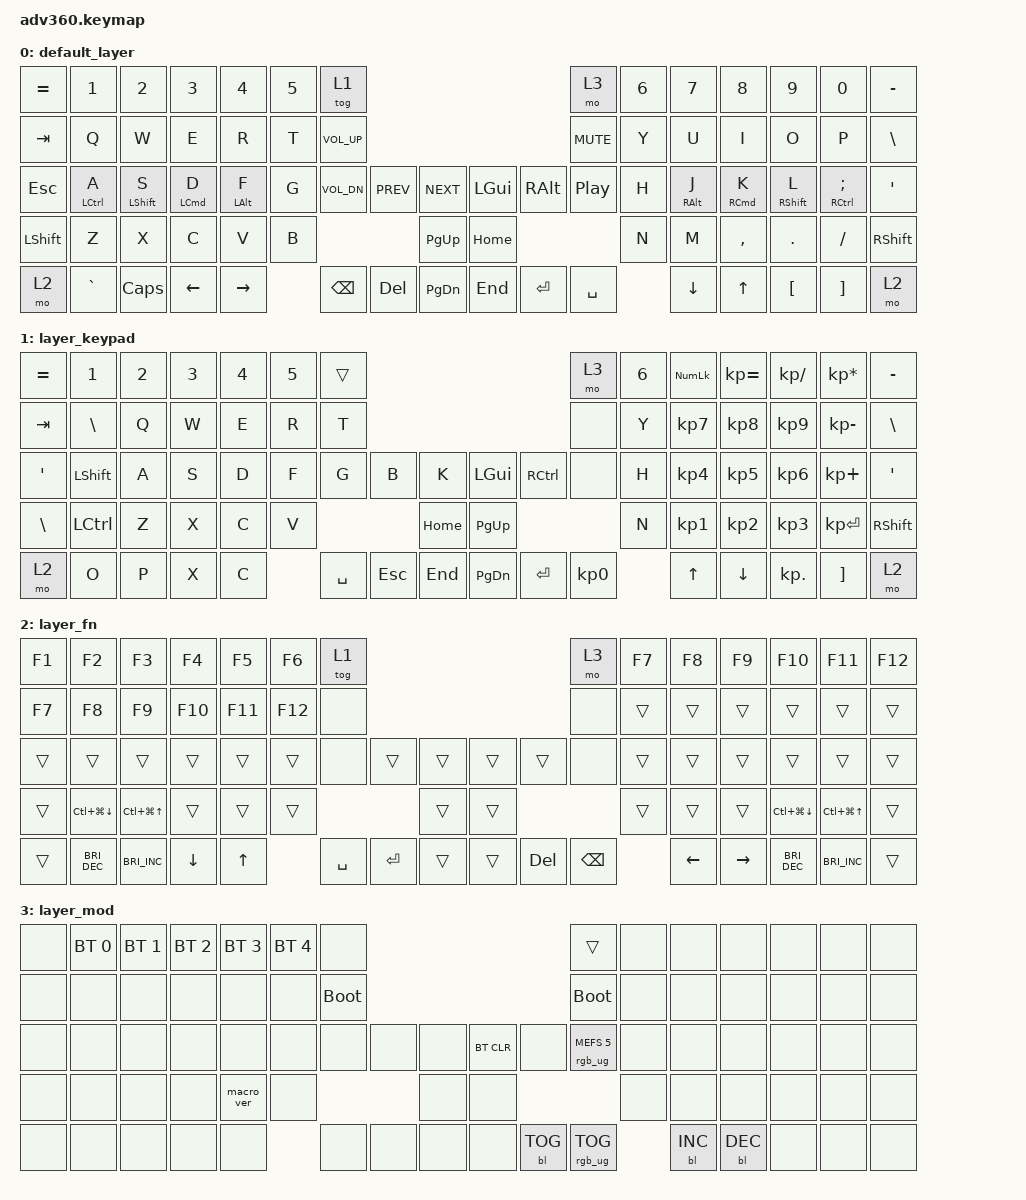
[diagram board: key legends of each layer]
/*
 * Copyright (c) 2020 The ZMK Contributors
 *
 * SPDX-License-Identifier: MIT
 */
/* THIS FILE WAS GENERATED!
 *
 * This file was generated automatically. You may or may not want to
 * edit it directly.
 */

#include <behaviors.dtsi>
#include <dt-bindings/zmk/backlight.h>
#include <dt-bindings/zmk/bt.h>
#include <dt-bindings/zmk/keys.h>
#include <dt-bindings/zmk/rgb.h>

/ {
    behaviors {
        #include "macros.dtsi"
    #include "version.dtsi"

        hm: homerow_mods {
            compatible = "zmk,behavior-hold-tap";
            label = "HOMEROW_MODS";
            #binding-cells = <2>;
            tapping-term-ms = <200>;
            quick_tap_ms = <125>;
            flavor = "tap-preferred";
            bindings = <&kp>, <&kp>;
        };
    };

    keymap {
        compatible = "zmk,keymap";

        default_layer {
            bindings = <
&kp EQUAL  &kp N1       &kp N2        &kp N3              &kp N4          &kp N5  &tog 1                                                                &mo 3             &kp N6  &kp N7           &kp N8               &kp N9             &kp N0                       &kp MINUS
&kp TAB    &kp Q        &kp W         &kp E               &kp R           &kp T   &kp C_VOL_UP                                                          &kp C_MUTE        &kp Y   &kp U            &kp I                &kp O              &kp P                        &kp BSLH
&kp ESC    &hm LCTRL A  &hm LSHIFT S  &hm LEFT_COMMAND D  &hm LEFT_ALT F  &kp G   &kp C_VOL_DN  &kp C_PREV  &kp C_NEXT         &kp LGUI  &kp RIGHT_ALT  &kp C_PLAY_PAUSE  &kp H   &hm RIGHT_ALT J  &hm RIGHT_COMMAND K  &hm RIGHT_SHIFT L  &hm RIGHT_CONTROL SEMICOLON  &kp SQT
&kp LSHFT  &kp Z        &kp X         &kp C               &kp V           &kp B                             &kp PAGE_UP        &kp HOME                                   &kp N   &kp M            &kp COMMA            &kp DOT            &kp FSLH                     &kp RSHFT
&mo 2      &kp GRAVE    &kp CAPS      &kp LEFT            &kp RIGHT               &kp BSPC      &kp DEL     &kp PAGE_DOWN      &kp END   &kp ENTER      &kp SPACE                 &kp DOWN         &kp UP_ARROW         &kp LBKT           &kp RBKT                     &mo 2
            >;
        };

        layer_keypad {
            bindings = <
&kp EQUAL       &kp N1          &kp N2  &kp N3  &kp N4  &kp N5  &trans                                                  &mo 3      &kp N6  &kp KP_NUM  &kp KP_EQUAL  &kp KP_DIVIDE  &kp KP_MULTIPLY  &kp MINUS
&kp TAB         &kp BACKSLASH   &kp Q   &kp W   &kp E   &kp R   &kp T                                                   &none      &kp Y   &kp KP_N7   &kp KP_N8     &kp KP_N9      &kp KP_MINUS     &kp BSLH
&kp APOSTROPHE  &kp LEFT_SHIFT  &kp A   &kp S   &kp D   &kp F   &kp G      &kp B    &kp K         &kp LGUI   &kp RCTRL  &none      &kp H   &kp KP_N4   &kp KP_N5     &kp KP_N6      &kp KP_PLUS      &kp SQT
&kp BACKSLASH   &kp LCTRL       &kp Z   &kp X   &kp C   &kp V                       &kp HOME      &kp PG_UP                        &kp N   &kp KP_N1   &kp KP_N2     &kp KP_N3      &kp KP_ENTER     &kp RSHFT
&mo 2           &kp O           &kp P   &kp X   &kp C           &kp SPACE  &kp ESC  &kp END       &kp PG_DN  &kp ENTER  &kp KP_N0          &kp UP      &kp DOWN      &kp KP_DOT     &kp RBKT         &mo 2
            >;
        };

        layer_fn {
            bindings = <
&kp F1  &kp F2                  &kp F3                &kp F4    &kp F5        &kp F6   &tog 1                                                 &mo 3          &kp F7  &kp F8    &kp F9     &kp F10                 &kp F11               &kp F12
&kp F7  &kp F8                  &kp F9                &kp F10   &kp F11       &kp F12  &none                                                  &none          &trans  &trans    &trans     &trans                  &trans                &trans
&trans  &trans                  &trans                &trans    &trans        &trans   &none      &trans      &trans      &trans  &trans      &none          &trans  &trans    &trans     &trans                  &trans                &trans
&trans  &kp LC(LG(DOWN_ARROW))  &kp LC(LG(UP_ARROW))  &trans    &trans        &trans                          &trans      &trans                             &trans  &trans    &trans     &kp LC(LG(DOWN_ARROW))  &kp LC(LG(UP_ARROW))  &trans
&trans  &kp C_BRIGHTNESS_DEC    &kp C_BRIGHTNESS_INC  &kp DOWN  &kp UP_ARROW           &kp SPACE  &kp RETURN  &trans      &trans  &kp DELETE  &kp BACKSPACE          &kp LEFT  &kp RIGHT  &kp C_BRIGHTNESS_DEC    &kp C_BRIGHTNESS_INC  &trans
            >;
        };

        layer_mod {
            bindings = <
&none  &bt BT_SEL 0  &bt BT_SEL 1  &bt BT_SEL 2  &bt BT_SEL 3  &bt BT_SEL 4  &none                                                  &trans                  &none  &none       &none       &none  &none  &none
&none  &none         &none         &none         &none         &none         &bootloader                                            &bootloader             &none  &none       &none       &none  &none  &none
&none  &none         &none         &none         &none         &none         &none        &none  &none      &bt BT_CLR  &none       &rgb_ug RGB_MEFS_CMD 5  &none  &none       &none       &none  &none  &none
&none  &none         &none         &none         &macro_ver    &none                             &none      &none                                           &none  &none       &none       &none  &none  &none
&none  &none         &none         &none         &none                       &none        &none  &none      &none       &bl BL_TOG  &rgb_ug RGB_TOG                &bl BL_INC  &bl BL_DEC  &none  &none  &none
            >;
        };
    };
};
